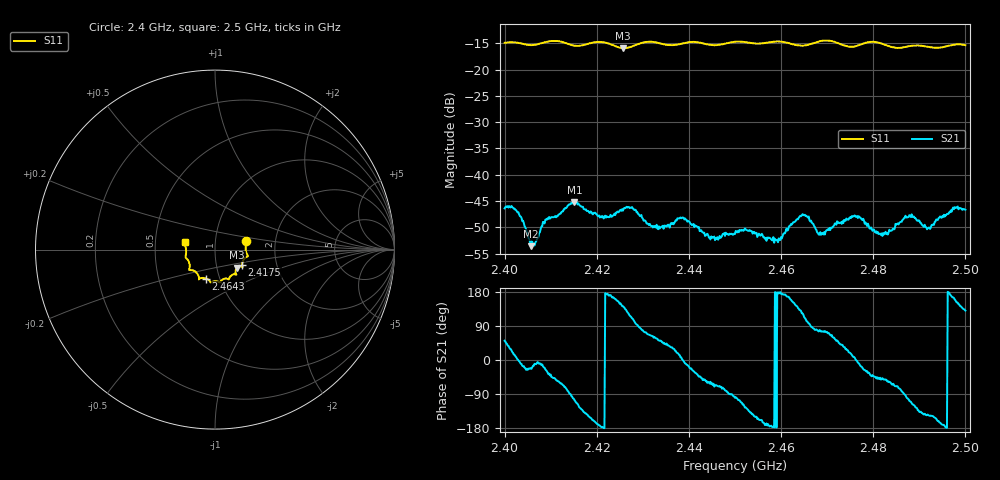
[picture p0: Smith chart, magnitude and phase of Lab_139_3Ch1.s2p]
# Hz S RI R 50
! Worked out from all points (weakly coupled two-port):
!   601 points, 2.4 GHz to 2.5 GHz, reference 50 ohm
!   highest |S21| = -45.19 dB at 2.4152 GHz (marker M1); lowest = -53.6 dB at 2.4057 GHz (marker M2)
!   lowest |S11| = -16.0 dB at 2.4257 GHz (marker M3), VSWR 1.38, Z = 62.6 - j13 ohm
!   |S11| at or under -10 dB: start of sweep to end of sweep
!   S12 and S22 are empty: the file has one direction only
!   S11 on the Smith chart (normalised r, x): 2.4 GHz: 1.41, +0.14; 2.4175 GHz: 1.33, -0.23; 2.4643 GHz: 0.86, -0.29; 2.5 GHz: 0.71, +0.06
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2.4e9  0.1728 0.048  0.00303 0.00372  0 0  0 0
2.402667e9  0.176 0.0373  0.00447 0.000305  0 0  0 0
2.405667e9  0.1705 0.00727  0.00195 -0.000768  0 0  0 0
2.408833e9  0.1798 -0.0281  0.00341 -0.00155  0 0  0 0
2.415167e9  0.1586 -0.0561  -0.00151 -0.00529  0 0  0 0
2.416667e9  0.1523 -0.0733  -0.00315 -0.00384  0 0  0 0
2.4175e9  0.1511 -0.083  -0.00362 -0.00296  0 0  0 0
2.421167e9  0.1538 -0.0977  -0.00405 -0.000257  0 0  0 0
2.425667e9  0.1232 -0.1011  -0.0036 0.0028  0 0  0 0
2.433333e9  0.114 -0.1375  0.00186 0.00241  0 0  0 0
2.438333e9  0.0804 -0.1558  0.00383 0.000466  0 0  0 0
2.444833e9  0.0577 -0.1609  0.00115 -0.00232  0 0  0 0
2.45e9  0.028 -0.1817  -0.000462 -0.00269  0 0  0 0
2.459333e9  -0.0242 -0.1831  -0.00228 5.66e-05  0 0  0 0
2.464333e9  -0.0493 -0.161  -0.00254 0.00313  0 0  0 0
2.466667e9  -0.076 -0.1586  0.000169 0.00351  0 0  0 0
2.468667e9  -0.0885 -0.1646  0.000698 0.0026  0 0  0 0
2.476333e9  -0.1195 -0.1168  0.00401 -7.82e-05  0 0  0 0
2.483333e9  -0.1404 -0.0903  0.00157 -0.00235  0 0  0 0
2.4875e9  -0.1575 -0.051  -0.000813 -0.00387  0 0  0 0
2.492e9  -0.1618 -0.026  -0.0026 -0.00177  0 0  0 0
2.5e9  -0.1646 0.0437  -0.00301 0.00355  0 0  0 0
